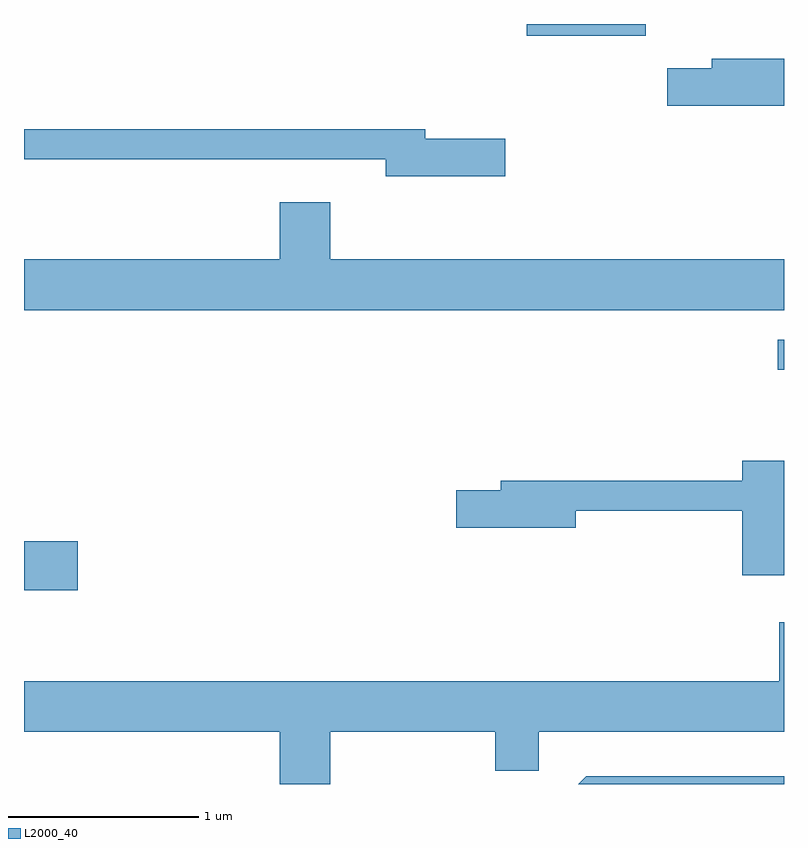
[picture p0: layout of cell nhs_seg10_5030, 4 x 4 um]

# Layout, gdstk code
import gdstk
lib = gdstk.Library(unit=1e-6, precision=1e-09)
def R(c, l, rs):  # rectangles x0, y0, x1, y1
    for r in rs: c.add(gdstk.rectangle(r[:2], r[2:], *l))
def P(c, l, *ps):  # polygons
    for p in ps: c.add(gdstk.Polygon(p, *l))
L2000_40 = (2000, 40)

nhs_seg10_5030 = lib.new_cell('nhs_seg10_5030')
R(nhs_seg10_5030, L2000_40, [(333.611,2123.541,333.894,2123.799), (337.578,2124.701,337.611,2124.859), (336.256,2126.461,336.884,2126.522)])
P(nhs_seg10_5030, L2000_40, [(337.611,2126.339),(337.231,2126.339),(337.231,2126.289),(336.996,2126.289),(336.996,2126.091),(337.611,2126.091)],
  [(336.144,2125.919),(335.724,2125.919),(335.724,2125.969),(333.611,2125.969),(333.611,2125.811),(335.516,2125.811),(335.516,2125.721),(336.144,2125.721)],
  [(337.611,2125.284),(335.224,2125.284),(335.224,2125.584),(334.956,2125.584),(334.956,2125.284),(333.611,2125.284),(333.611,2125.016),(337.611,2125.016)],
  [(337.611,2124.224),(337.391,2124.224),(337.391,2124.119),(336.121,2124.119),(336.121,2124.069),(335.886,2124.069),(335.886,2123.871),(336.514,2123.871),(336.514,2123.961),(337.391,2123.961),(337.391,2123.621),(337.611,2123.621)],
  [(335.224,2122.796),(336.091,2122.796),(336.091,2122.591),(336.319,2122.591),(336.319,2122.796),(337.611,2122.796),(337.611,2123.374),(337.586,2123.374),(337.586,2123.064),(333.611,2123.064),(333.611,2122.796),(334.956,2122.796),(334.956,2122.522),(335.224,2122.522)],
  [(337.611,2122.564),(336.569,2122.564),(336.527,2122.522),(337.611,2122.522)])

lib.write_gds('nhs_seg10_5030.gds')
